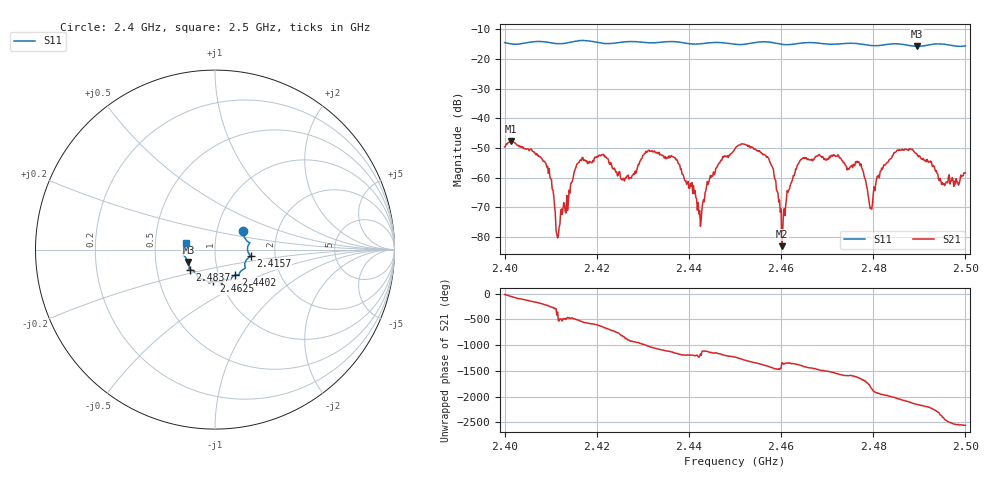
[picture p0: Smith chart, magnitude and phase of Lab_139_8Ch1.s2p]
# Hz S RI R 50
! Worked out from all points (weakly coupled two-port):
!   601 points, 2.4 GHz to 2.5 GHz, reference 50 ohm
!   highest |S21| = -47.61 dB at 2.4013 GHz (marker M1); lowest = -83.1 dB at 2.4602 GHz (marker M2)
!   lowest |S11| = -15.7 dB at 2.4895 GHz (marker M3), VSWR 1.39, Z = 36.8 - j5.18 ohm
!   |S11| at or under -10 dB: start of sweep to end of sweep
!   S12 and S22 are empty: the file has one direction only
!   S11 on the Smith chart (normalised r, x): 2.4 GHz: 1.33, +0.29; 2.4157 GHz: 1.49, -0.11; 2.4402 GHz: 1.20, -0.35; 2.4625 GHz: 0.92, -0.34; 2.4837 GHz: 0.74, -0.17; 2.5 GHz: 0.72, +0.05
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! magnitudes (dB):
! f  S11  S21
! 2.4 GHz  -14.5  -49.7
! 2.4013 GHz  -14.9  -47.6
! 2.4092 GHz  -14.3  -56.5
! 2.4115 GHz  -14.8  -80.4
! 2.4157 GHz  -13.9  -55.5
! 2.4167 GHz  -13.7  -54.3
! 2.4258 GHz  -14.2  -60.3
! 2.4333 GHz  -14.4  -51.9
! 2.4402 GHz  -14.9  -63.5
! 2.4423 GHz  -14.9  -71.2
! 2.45 GHz  -15.0  -50.3
! 2.457 GHz  -14.2  -52.9
! 2.4602 GHz  -15.0  -83.1
! 2.4625 GHz  -15.0  -60.5
! 2.4667 GHz  -14.4  -53.8
! 2.4768 GHz  -14.8  -54.6
! 2.4795 GHz  -15.4  -70.3
! 2.4833 GHz  -15.0  -54.4
! 2.4837 GHz  -14.9  -53.8
! 2.4895 GHz  -15.7  -52.1
! 2.4952 GHz  -15.0  -62.3
! 2.5 GHz  -15.6  -58.4
